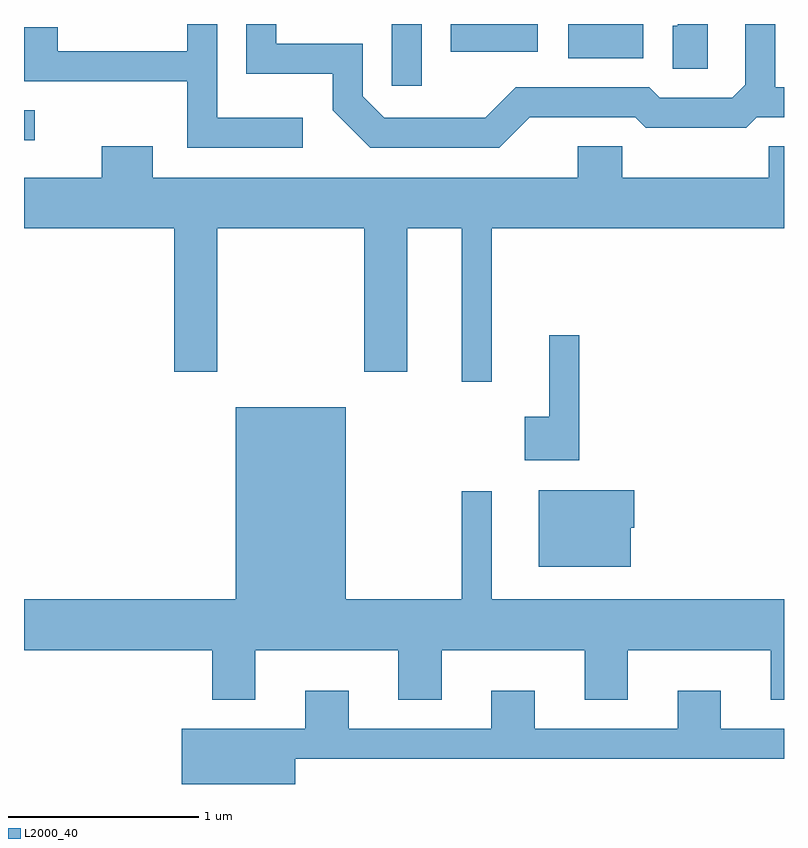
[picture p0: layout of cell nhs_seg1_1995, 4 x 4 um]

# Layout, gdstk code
import gdstk
lib = gdstk.Library(unit=1e-6, precision=1e-09)
def R(c, l, rs):  # rectangles x0, y0, x1, y1
    for r in rs: c.add(gdstk.rectangle(r[:2], r[2:], *l))
def P(c, l, *ps):  # polygons
    for p in ps: c.add(gdstk.Polygon(p, *l))
L2000_40 = (2000, 40)

nhs_seg1_1995 = lib.new_cell('nhs_seg1_1995')
R(nhs_seg1_1995, L2000_40, [(245.611,951.101,245.668,951.259), (247.546,951.388,247.704,951.712), (248.476,951.531,248.869,951.712), (247.856,951.566,248.314,951.712)])
P(nhs_seg1_1995, L2000_40, [(249.209,951.712),(249.051,951.712),(249.051,951.704),(249.026,951.704),(249.026,951.476),(249.209,951.476)],
  [(248.272,951.221),(248.829,951.221),(248.884,951.166),(249.412,951.166),(249.467,951.221),(249.611,951.221),(249.611,951.379),(249.564,951.379),(249.564,951.712),(249.406,951.712),(249.406,951.392),(249.339,951.324),(248.957,951.324),(248.902,951.379),(248.199,951.379),(248.039,951.219),(247.507,951.219),(247.394,951.332),(247.394,951.609),(246.939,951.609),(246.939,951.712),(246.781,951.712),(246.781,951.451),(247.236,951.451),(247.236,951.259),(247.434,951.061),(248.112,951.061)],
  [(247.078,951.219),(246.629,951.219),(246.629,951.712),(246.471,951.712),(246.471,951.569),(245.789,951.569),(245.789,951.694),(245.611,951.694),(245.611,951.411),(246.471,951.411),(246.471,951.061),(247.078,951.061)],
  [(246.289,951.069),(246.021,951.069),(246.021,950.904),(245.611,950.904),(245.611,950.636),(246.401,950.636),(246.401,949.881),(246.629,949.881),(246.629,950.636),(247.401,950.636),(247.401,949.881),(247.629,949.881),(247.629,950.636),(247.916,950.636),(247.916,949.828),(248.074,949.828),(248.074,950.636),(249.611,950.636),(249.611,951.069),(249.531,951.069),(249.531,950.904),(248.759,950.904),(248.759,951.069),(248.526,951.069),(248.526,950.904),(246.289,950.904)],
  [(248.534,950.073),(248.376,950.073),(248.376,949.644),(248.246,949.644),(248.246,949.416),(248.534,949.416)],
  [(246.829,948.416),(247.581,948.416),(247.581,948.156),(247.809,948.156),(247.809,948.416),(248.561,948.416),(248.561,948.156),(248.789,948.156),(248.789,948.416),(249.541,948.416),(249.541,948.156),(249.611,948.156),(249.611,948.684),(248.074,948.684),(248.074,949.253),(247.916,949.253),(247.916,948.684),(247.304,948.684),(247.304,949.694),(246.726,949.694),(246.726,948.684),(245.611,948.684),(245.611,948.416),(246.601,948.416),(246.601,948.156),(246.829,948.156)],
  [(248.804,949.061),(248.824,949.061),(248.824,949.259),(248.321,949.259),(248.321,948.856),(248.804,948.856)],
  [(247.039,947.846),(249.611,947.846),(249.611,948.004),(249.279,948.004),(249.279,948.204),(249.051,948.204),(249.051,948.004),(248.299,948.004),(248.299,948.204),(248.071,948.204),(248.071,948.004),(247.319,948.004),(247.319,948.204),(247.091,948.204),(247.091,948.004),(246.441,948.004),(246.441,947.712),(247.039,947.712)])

lib.write_gds('nhs_seg1_1995.gds')
